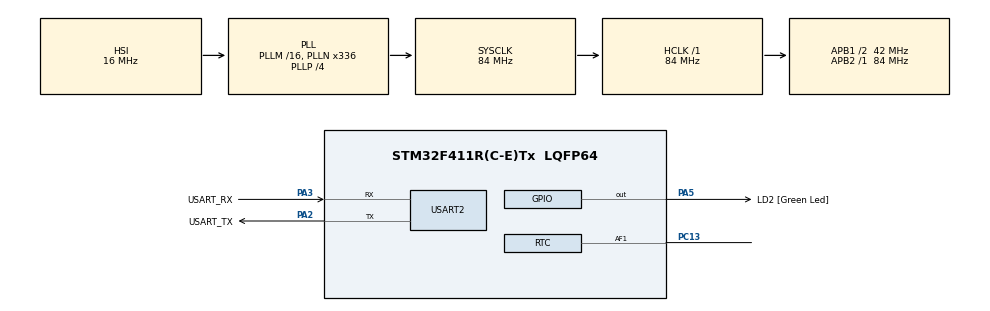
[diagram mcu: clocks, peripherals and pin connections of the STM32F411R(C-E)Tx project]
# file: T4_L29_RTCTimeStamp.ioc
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Mcu.Family=STM32F4
Mcu.Name=STM32F411R(C-E)Tx
Mcu.Package=LQFP64
NVIC.PriorityGroup=NVIC_PRIORITYGROUP_0
NVIC.TAMP_STAMP_IRQn=true\:0\:0\:false\:true\:true\:1\:true\:true
PA13.GPIO_Label=TMS
PA13.Mode=Serial_Wire
PA13.Signal=SYS_JTMS-SWDIO
PA14.GPIO_Label=TCK
PA14.Mode=Serial_Wire
PA14.Signal=SYS_JTCK-SWCLK
PA2.GPIO_Label=USART_TX
PA2.Mode=Asynchronous
PA2.Signal=USART2_TX
PA3.GPIO_Label=USART_RX
PA3.Mode=Asynchronous
PA3.Signal=USART2_RX
PA5.GPIO_Label=LD2 [Green Led]
PA5.Signal=GPIO_Output
PB3.GPIO_Label=SWO
PB3.Signal=SYS_JTDO-SWO
PC13-ANTI_TAMP.Mode=Timestamp enabled - Input Enabled to AF1
PC13-ANTI_TAMP.Signal=RTC_AF1
PC14-OSC32_IN.Mode=LSE-External-Oscillator
PC14-OSC32_IN.Signal=RCC_OSC32_IN
PC15-OSC32_OUT.Mode=LSE-External-Oscillator
PC15-OSC32_OUT.Signal=RCC_OSC32_OUT
PH0\ -\ OSC_IN.Mode=HSE-External-Clock-Source
PH0\ -\ OSC_IN.Signal=RCC_OSC_IN
PH1\ -\ OSC_OUT.Mode=HSE-External-Clock-Source
PH1\ -\ OSC_OUT.Signal=RCC_OSC_OUT
ProjectManager.HeapSize=0x200
ProjectManager.StackSize=0x400
ProjectManager.TargetToolchain=STM32CubeIDE
RCC.48MHZClocksFreq_Value=84000000
RCC.AHBFreq_Value=84000000
RCC.APB1CLKDivider=RCC_HCLK_DIV2
RCC.APB1Freq_Value=42000000
RCC.APB1TimFreq_Value=84000000
RCC.APB2Freq_Value=84000000
RCC.APB2TimFreq_Value=84000000
RCC.CortexFreq_Value=84000000
RCC.FLatency-AdvancedSettings=FLASH_LATENCY_2
RCC.HCLKFreq_Value=84000000
RCC.HSE_VALUE=8000000
RCC.HSI_VALUE=16000000
RCC.PLLN=336
RCC.PLLP=RCC_PLLP_DIV4
RCC.RCC_RTC_Clock_Source=RCC_RTCCLKSOURCE_LSE
RCC.RCC_RTC_Clock_SourceVirtual=RCC_RTCCLKSOURCE_LSE
RCC.SYSCLKFreq_VALUE=84000000
RCC.SYSCLKSource=RCC_SYSCLKSOURCE_PLLCLK
RCC.VCOOutputFreq_Value=336000000
RTC.Date=9
RTC.Format=RTC_FORMAT_BIN
RTC.Hours=20
RTC.Minutes=30
RTC.Month=RTC_MONTH_APRIL
RTC.Seconds=15
RTC.TimeStampPin=RTC_TIMESTAMPPIN_DEFAULT
RTC.Year=20
USART2.VirtualMode=VM_ASYNC
VP_RTC_VS_RTC_Activate.Mode=RTC_Enabled
VP_RTC_VS_RTC_Calendar.Mode=RTC_Calendar
board=NUCLEO-F411RE

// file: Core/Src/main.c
/* USER CODE BEGIN Header */
/**
  ******************************************************************************
  * @file           : main.c
  * @brief          : Main program body
  ******************************************************************************
  * @attention
  *
  * <h2><center>&copy; Copyright (c) 2020 STMicroelectronics.
  * All rights reserved.</center></h2>
  *
  * This software component is licensed by ST under BSD 3-Clause license,
  * the "License"; You may not use this file except in compliance with the
  * License. You may obtain a copy of the License at:
  *                        opensource.org/licenses/BSD-3-Clause
  *
  ******************************************************************************
  */
/* USER CODE END Header */
#include "main.h"
#include "rtc.h"
#include "usart.h"
#include "gpio.h"

/* USER CODE BEGIN Includes */
#include <stdio.h>
/* USER CODE END Includes */

/* USER CODE BEGIN PV */
RTC_TimeTypeDef RtcTime;
RTC_DateTypeDef RtcDate;

volatile RTC_TimeTypeDef RtcTimeTimeStamp; // volatile because it's used in interrupt!
volatile RTC_DateTypeDef RtcDateTimeStamp;

uint8_t CompareSeconds;

uint8_t Message[128];
uint8_t MessageLen;

volatile uint8_t TimeStampFlag;
/* USER CODE END PV */

void SystemClock_Config(void);
static void MX_NVIC_Init(void);

int main(void)
{

  /* MCU Configuration--------------------------------------------------------*/

  /* Reset of all peripherals, Initializes the Flash interface and the Systick. */
  HAL_Init();

  /* Configure the system clock */
  SystemClock_Config();

  /* Initialize all configured peripherals */
  MX_GPIO_Init();
  MX_USART2_UART_Init();
  MX_RTC_Init();

  /* Initialize interrupts */
  MX_NVIC_Init();
  /* USER CODE BEGIN 2 */
  if (HAL_RTCEx_SetTimeStamp_IT(&hrtc, RTC_TIMESTAMPEDGE_RISING, RTC_TIMESTAMPPIN_DEFAULT) != HAL_OK)
  {
    Error_Handler();
  }
  /* USER CODE END 2 */

  /* Infinite loop */
  /* USER CODE BEGIN WHILE */
  while (1)
  {

	  HAL_RTC_GetTime(&hrtc, &RtcTime, RTC_FORMAT_BIN);
	  HAL_RTC_GetDate(&hrtc, &RtcDate, RTC_FORMAT_BIN);

	  if(RtcTime.Seconds != CompareSeconds)
	  {
		  MessageLen = sprintf((char*)Message, "Date: %02d.%02d.20%02d Time: %02d:%02d:%02d\n\r", RtcDate.Date, RtcDate.Month, RtcDate.Year, RtcTime.Hours, RtcTime.Minutes, RtcTime.Seconds);
		  HAL_UART_Transmit(&huart2, Message, MessageLen, 100);
		  CompareSeconds = RtcTime.Seconds;
	  }

	  if(TimeStampFlag == 1)
	  {
	  	  MessageLen = sprintf((char*)Message, "Time Stamp - Date: %02d.%02d.20%02d Time: %02d:%02d:%02d\n\r", RtcDateTimeStamp.Date, RtcDateTimeStamp.Month, RtcDateTimeStamp.Year, RtcTimeTimeStamp.Hours, RtcTimeTimeStamp.Minutes, RtcTimeTimeStamp.Seconds);
	  	  HAL_UART_Transmit(&huart2, Message, MessageLen, 100);
	  	  TimeStampFlag = 0;
	  }

    /* USER CODE END WHILE */

  }
}

void SystemClock_Config(void)
{
  RCC_OscInitTypeDef RCC_OscInitStruct = {0};
  RCC_ClkInitTypeDef RCC_ClkInitStruct = {0};
  RCC_PeriphCLKInitTypeDef PeriphClkInitStruct = {0};

  /** Configure the main internal regulator output voltage
  */
  __HAL_RCC_PWR_CLK_ENABLE();
  __HAL_PWR_VOLTAGESCALING_CONFIG(PWR_REGULATOR_VOLTAGE_SCALE1);
  /** Initializes the RCC Oscillators according to the specified parameters
  * in the RCC_OscInitTypeDef structure.
  */
  RCC_OscInitStruct.OscillatorType = RCC_OSCILLATORTYPE_HSI|RCC_OSCILLATORTYPE_LSE;
  RCC_OscInitStruct.LSEState = RCC_LSE_ON;
  RCC_OscInitStruct.HSIState = RCC_HSI_ON;
  RCC_OscInitStruct.HSICalibrationValue = RCC_HSICALIBRATION_DEFAULT;
  RCC_OscInitStruct.PLL.PLLState = RCC_PLL_ON;
  RCC_OscInitStruct.PLL.PLLSource = RCC_PLLSOURCE_HSI;
  RCC_OscInitStruct.PLL.PLLM = 16;
  RCC_OscInitStruct.PLL.PLLN = 336;
  RCC_OscInitStruct.PLL.PLLP = RCC_PLLP_DIV4;
  RCC_OscInitStruct.PLL.PLLQ = 4;
  if (HAL_RCC_OscConfig(&RCC_OscInitStruct) != HAL_OK)
  {
    Error_Handler();
  }
  /** Initializes the CPU, AHB and APB buses clocks
  */
  RCC_ClkInitStruct.ClockType = RCC_CLOCKTYPE_HCLK|RCC_CLOCKTYPE_SYSCLK
                              |RCC_CLOCKTYPE_PCLK1|RCC_CLOCKTYPE_PCLK2;
  RCC_ClkInitStruct.SYSCLKSource = RCC_SYSCLKSOURCE_PLLCLK;
  RCC_ClkInitStruct.AHBCLKDivider = RCC_SYSCLK_DIV1;
  RCC_ClkInitStruct.APB1CLKDivider = RCC_HCLK_DIV2;
  RCC_ClkInitStruct.APB2CLKDivider = RCC_HCLK_DIV1;

  if (HAL_RCC_ClockConfig(&RCC_ClkInitStruct, FLASH_LATENCY_2) != HAL_OK)
  {
    Error_Handler();
  }
  PeriphClkInitStruct.PeriphClockSelection = RCC_PERIPHCLK_RTC;
  PeriphClkInitStruct.RTCClockSelection = RCC_RTCCLKSOURCE_LSE;
  if (HAL_RCCEx_PeriphCLKConfig(&PeriphClkInitStruct) != HAL_OK)
  {
    Error_Handler();
  }
}

/**
  * @brief NVIC Configuration.
  * @retval None
  */
static void MX_NVIC_Init(void)
{
  /* TAMP_STAMP_IRQn interrupt configuration */
  HAL_NVIC_SetPriority(TAMP_STAMP_IRQn, 0, 0);
  HAL_NVIC_EnableIRQ(TAMP_STAMP_IRQn);
}

/* USER CODE BEGIN 4 */
void HAL_RTCEx_TimeStampEventCallback(RTC_HandleTypeDef *hrtc)
{
	HAL_RTCEx_GetTimeStamp(hrtc, &RtcTimeTimeStamp,  &RtcDateTimeStamp, RTC_FORMAT_BIN);
	TimeStampFlag = 1;
}
/* USER CODE END 4 */

void Error_Handler(void)
{
}

/************************ (C) COPYRIGHT STMicroelectronics *****END OF FILE****/
